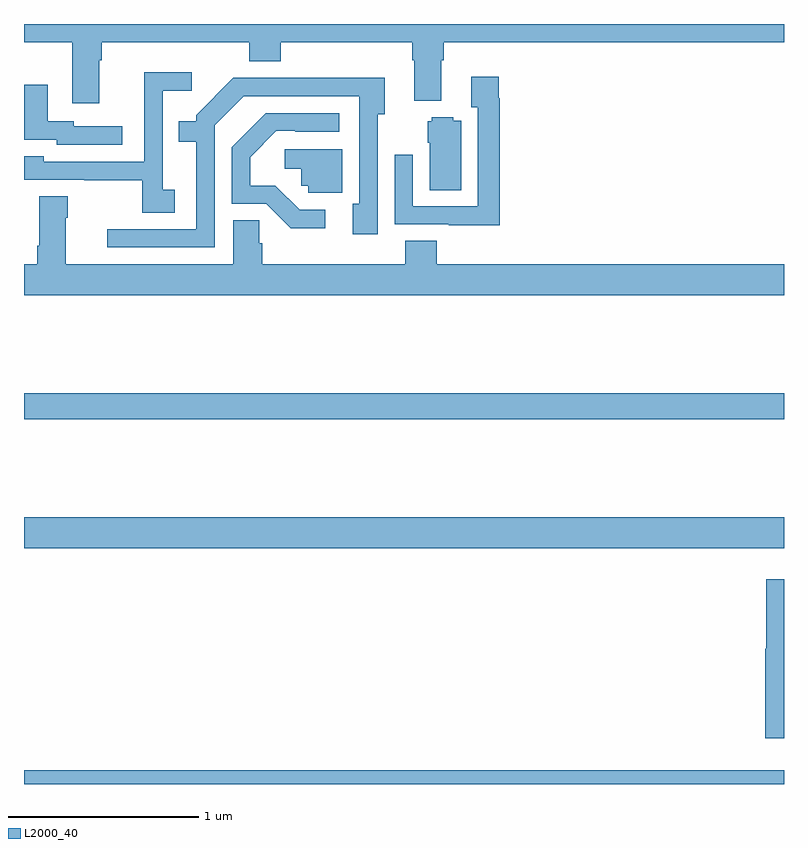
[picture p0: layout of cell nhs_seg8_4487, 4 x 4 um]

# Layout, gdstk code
import gdstk
lib = gdstk.Library(unit=1e-6, precision=1e-09)
def R(c, l, rs):  # rectangles x0, y0, x1, y1
    for r in rs: c.add(gdstk.rectangle(r[:2], r[2:], *l))
def P(c, l, *ps):  # polygons
    for p in ps: c.add(gdstk.Polygon(p, *l))
L2000_40 = (2000, 40)

nhs_seg8_4487 = lib.new_cell('nhs_seg8_4487')
R(nhs_seg8_4487, L2000_40, [(383,1141.9,387,1141.972), (383,1143.14,387,1143.304), (383,1143.82,387,1143.956)])
P(nhs_seg8_4487, L2000_40, [(383.395,1145.708),(383.408,1145.708),(383.408,1145.804),(384.185,1145.804),(384.185,1145.705),(384.35,1145.705),(384.35,1145.804),(385.043,1145.804),(385.043,1145.708),(385.055,1145.708),(385.055,1145.495),(385.195,1145.495),(385.195,1145.708),(385.208,1145.708),(385.208,1145.804),(387,1145.804),(387,1145.9),(383,1145.9),(383,1145.804),(383.255,1145.804),(383.255,1145.484),(383.395,1145.484)],
  [(383.794,1145.028),(383.73,1145.028),(383.73,1145.549),(383.884,1145.549),(383.884,1145.647),(383.632,1145.647),(383.632,1145.408),(383.634,1145.408),(383.634,1145.175),(383.103,1145.175),(383.103,1145.203),(383,1145.203),(383,1145.079),(383.317,1145.079),(383.317,1145.077),(383.622,1145.077),(383.622,1144.906),(383.794,1144.906)],
  [(385.505,1145.51),(385.498,1145.51),(385.498,1145.623),(385.355,1145.623),(385.355,1145.462),(385.389,1145.462),(385.389,1144.941),(385.047,1144.941),(385.047,1145.212),(384.951,1145.212),(384.951,1144.845),(385.235,1144.845),(385.235,1144.841),(385.505,1144.841)],
  [(384.003,1145.367),(384.156,1145.52),(384.765,1145.52),(384.765,1144.954),(384.731,1144.954),(384.731,1144.794),(384.861,1144.794),(384.861,1145.426),(384.898,1145.426),(384.898,1145.618),(384.433,1145.618),(384.433,1145.616),(384.102,1145.616),(383.907,1145.421),(383.907,1145.389),(383.815,1145.389),(383.815,1145.28),(383.906,1145.28),(383.906,1144.821),(383.439,1144.821),(383.439,1144.725),(384.003,1144.725)],
  [(383.518,1145.361),(383.262,1145.361),(383.262,1145.388),(383.125,1145.388),(383.125,1145.581),(383,1145.581),(383,1145.292),(383.172,1145.292),(383.172,1145.265),(383.518,1145.265)],
  [(384.586,1144.923),(384.45,1144.923),(384.323,1145.05),(384.19,1145.05),(384.19,1145.2),(384.327,1145.337),(384.427,1145.337),(384.427,1145.334),(384.658,1145.334),(384.658,1145.43),(384.272,1145.43),(384.093,1145.251),(384.093,1144.953),(384.276,1144.953),(384.404,1144.826),(384.586,1144.826)],
  [(385.3,1145.392),(385.26,1145.392),(385.26,1145.41),(385.146,1145.41),(385.146,1145.388),(385.124,1145.388),(385.124,1145.274),(385.136,1145.274),(385.136,1145.026),(385.3,1145.026)],
  [(384.676,1145.241),(384.372,1145.241),(384.372,1145.138),(384.459,1145.138),(384.459,1145.049),(384.495,1145.049),(384.495,1145.013),(384.676,1145.013)],
  [(387,1144.636),(385.172,1144.636),(385.172,1144.76),(385.007,1144.76),(385.007,1144.636),(384.254,1144.636),(384.254,1144.746),(384.239,1144.746),(384.239,1144.868),(384.101,1144.868),(384.101,1144.636),(383.221,1144.636),(383.221,1144.88),(383.229,1144.88),(383.229,1144.993),(383.081,1144.993),(383.081,1144.732),(383.069,1144.732),(383.069,1144.636),(383,1144.636),(383,1144.472),(387,1144.472)],
  [(387,1142.977),(386.906,1142.977),(386.906,1142.613),(386.9,1142.613),(386.9,1142.142),(387,1142.142)])

lib.write_gds('nhs_seg8_4487.gds')
